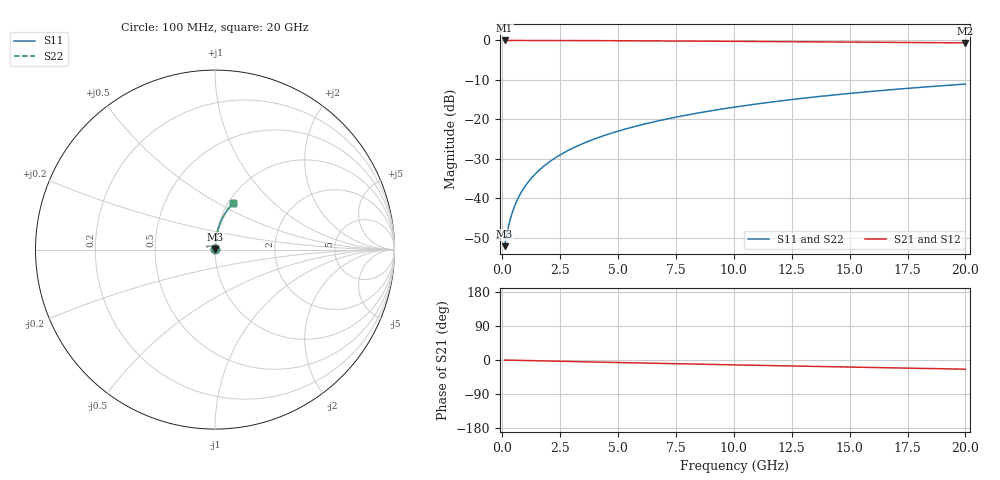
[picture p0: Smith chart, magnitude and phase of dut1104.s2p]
! Touchstone file exported from HFSS 2024.1.0
!  File:  C:/UserFiles/LocalFiles/RDL_TSV_Batchsim/temp_RDL_top_1104_1780046469.aedt
!  Generated:  05:23:14 PM May 29, 2026
!  Design:  RDL_top
!  Project:  temp_RDL_top_1104_1780046469
!  Setup:  Setup1
!  Solution:  Sweep
! Variables:
!  dtsv = 10.80580581um
!  hbump = 3um
!  htsv = 99.78um
!  ldown = 100um
!  lrdl = 306.88um
!  p = 40
!  p1 = 43.64um
!  rhole = 1um
!  t = 450um
!  tdown = 3.915915916um
!  trdl = 4.14um
!  wdown = 15.38538539um
!  wrdl = 14.11um
# GHz S MA R 50.000000
! Terminal data exported
! Port[1] = Box2_T1
! Port[2] = Box2_T2
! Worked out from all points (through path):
!   200 points, 100 MHz to 20 GHz, reference 50 ohm
!   highest |S21| = -0.02 dB at 100 MHz (marker M1); lowest = -0.6 dB at 20 GHz (marker M2)
!   group delay of S21, straight-line fit = 3.35 ps
!   lowest |S11| = -52.1 dB at 100 MHz (marker M3), VSWR 1.00, Z = 50.2 + j0.149 ohm
!   |S11| at or under -10 dB: start of sweep to end of sweep
!   |S22| runs from -52.1 to -11.1 dB; largest |S21 - S12| = 3.4e-15
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0.1  0.002481 36.9  0.998 -0.1  0.998 -0.1  0.002481 36.9
! Gamma 0 0 0 0
! Port Impedance 50 0 50 0
0.2  0.003587 55.4  0.998 -0.3  0.998 -0.3  0.003587 55.4
0.3  0.004863 64.4  0.9979 -0.4  0.9979 -0.4  0.004863 64.4
0.4  0.006191 69.6  0.9978 -0.6  0.9978 -0.6  0.006191 69.6
0.5  0.007541 72.9  0.9977 -0.7  0.9977 -0.7  0.007541 72.9
0.6  0.008905 75.3  0.9977 -0.8  0.9977 -0.8  0.008905 75.3
0.8  0.01166 78.3  0.9975 -1.1  0.9975 -1.1  0.01166 78.3
1.1  0.01584 80.9  0.9973 -1.5  0.9973 -1.5  0.01584 80.9
1.5  0.02144 82.6  0.9969 -2.0  0.9969 -2.0  0.02144 82.6
1.8  0.02566 83.3  0.9966 -2.4  0.9966 -2.4  0.02566 83.3
2.1  0.02989 83.7  0.9962 -2.8  0.9962 -2.8  0.02989 83.7
2.7  0.03836 84.1  0.9952 -3.6  0.9952 -3.6  0.03836 84.1
3.5  0.04968 84.1  0.9937 -4.7  0.9937 -4.7  0.04968 84.1
4.2  0.05961 83.9  0.992 -5.6  0.992 -5.6  0.05961 83.9
5  0.07098 83.5  0.9899 -6.7  0.9899 -6.7  0.07099 83.5
5.9  0.08382 82.9  0.9873 -7.8  0.9873 -7.8  0.08382 82.9
6.8  0.0967 82.3  0.9844 -8.9  0.9844 -8.9  0.0967 82.3
8.3  0.1182 81.0  0.9792 -10.8  0.9792 -10.8  0.1182 81.0
10.1  0.144 79.3  0.9725 -13.0  0.9725 -13.0  0.144 79.3
13.4  0.1909 75.8  0.9592 -16.9  0.9592 -16.9  0.1909 75.8
16.7  0.2364 72.2  0.9449 -20.6  0.9449 -20.6  0.2364 72.2
20  0.2798 68.6  0.9296 -24.2  0.9296 -24.2  0.2798 68.6
